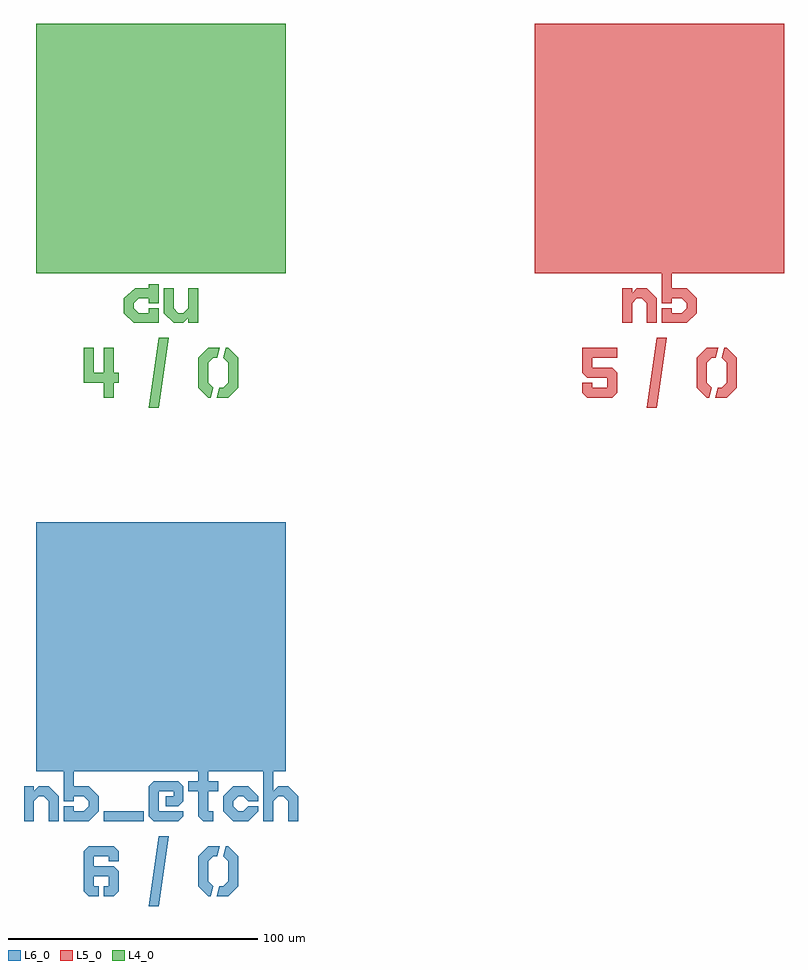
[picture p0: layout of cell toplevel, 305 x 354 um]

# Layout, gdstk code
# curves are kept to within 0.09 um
import gdstk
lib = gdstk.Library(unit=1e-6, precision=1e-09)
def R(c, l, rs):  # rectangles x0, y0, x1, y1
    for r in rs: c.add(gdstk.rectangle(r[:2], r[2:], *l))
def P(c, l, *ps):  # polygons
    for p in ps: c.add(gdstk.Polygon(p, *l))
L4_0 = (4, 0)
L5_0 = (5, 0)
L6_0 = (6, 0)

rectangle = lib.new_cell('rectangle')
R(rectangle, L4_0, [(0,0,100,100)])

textline = lib.new_cell('textline')
P(textline, L4_0, [(66,-20),(56,-20),(52,-16),(52,-10),(56.68,-6),(62,-6),(62,-4.5),(66,-4.5),(66,-12),(62,-12),(62,-10),(58,-10),(56,-12),(56,-14),(58,-16),(62,-16),(62,-14),(66,-14)],
  [(72,-6),(72,-14),(74,-16),(76,-16),(78,-14),(78,-6),(82,-6),(82,-20),(78,-20),(78,-18),(76,-20),(72,-20),(68,-16),(68,-6)])

textline001 = lib.new_cell('textline001')
P(textline001, L4_0, [(66,-40),(66,-44),(64,-44),(64,-50),(60,-50),(60,-44),(52,-44),(52,-30),(56,-30),(56,-40),(60,-40),(60,-30),(64,-30),(64,-40),(66,-40)],
  [(86,-26),(82,-54),(78,-54),(82,-26),(86,-26)],
  [(104,-34),(102,-36),(102,-44),(104,-46),(103,-50),(102,-50),(98,-46),(98,-34),(102,-30),(106.6,-30),(105.6,-34),(104,-34)],
  [(108,-46),(110,-44),(110,-36),(108,-34),(109,-30),(110,-30),(114,-34),(114,-46),(110,-50),(105.4,-50),(106.4,-46),(108,-46)])

text = lib.new_cell('text')
text.add(gdstk.Reference(textline, (-17,0)))
text.add(gdstk.Reference(textline001, (-33,0)))

rectangle001 = lib.new_cell('rectangle001')
R(rectangle001, L5_0, [(0,0,100,100)])

textline002 = lib.new_cell('textline002')
P(textline002, L5_0, [(62,-20),(62,-12),(60,-10),(58,-10),(56,-12),(56,-20),(52,-20),(52,-6),(56,-6),(56,-8),(58,-6),(62,-6),(66,-10),(66,-20)],
  [(68,-14),(72,-14),(72,-16),(76,-16),(78,-14),(78,-12),(76,-10),(72,-10),(72,-12),(68,-12),(68,0),(72,0),(72,-6),(78,-6),(82,-10),(82,-16),(78,-20),(68,-20)])

textline003 = lib.new_cell('textline003')
P(textline003, L5_0, [(66,-34),(56,-34),(56,-38),(64,-38),(66,-40),(66,-48),(64,-50),(54,-50),(52,-48),(52,-44),(56,-44),(56,-46),(62,-46),(62,-42),(54,-42),(52,-40),(52,-30),(66,-30)],
  [(86,-26),(82,-54),(78,-54),(82,-26),(86,-26)],
  [(104,-34),(102,-36),(102,-44),(104,-46),(103,-50),(102,-50),(98,-46),(98,-34),(102,-30),(106.6,-30),(105.6,-34),(104,-34)],
  [(108,-46),(110,-44),(110,-36),(108,-34),(109,-30),(110,-30),(114,-34),(114,-46),(110,-50),(105.4,-50),(106.4,-46),(108,-46)])

text001 = lib.new_cell('text001')
text001.add(gdstk.Reference(textline002, (-17,0)))
text001.add(gdstk.Reference(textline003, (-33,0)))

rectangle002 = lib.new_cell('rectangle002')
R(rectangle002, L6_0, [(0,0,100,100)])

textline004 = lib.new_cell('textline004')
P(textline004, L6_0, [(62,-20),(62,-12),(60,-10),(58,-10),(56,-12),(56,-20),(52,-20),(52,-6),(56,-6),(56,-8),(58,-6),(62,-6),(66,-10),(66,-20)],
  [(68,-14),(72,-14),(72,-16),(76,-16),(78,-14),(78,-12),(76,-10),(72,-10),(72,-12),(68,-12),(68,0),(72,0),(72,-6),(78,-6),(82,-10),(82,-16),(78,-20),(68,-20)],
  [(84,-16),(100,-16),(100,-20),(84,-20),(84,-16)],
  [(104,-20),(102,-18),(102,-6),(104,-4),(114,-4),(116,-6),(116,-12),(114,-14),(108.8,-14),(108.8,-10),(112,-10),(112,-8),(106,-8),(106,-16),(116,-16),(116,-18),(114,-20)],
  [(128,-20),(124,-20),(122,-18),(122,-8),(118,-8),(118,-4),(122,-4),(122,0),(126,0),(126,-4),(130,-4),(130,-8),(126,-8),(126,-16),(128,-16)],
  [(146,-16),(142,-20),(136,-20),(132,-16),(132,-10),(136,-6),(142,-6),(146,-10),(146,-12),(142,-12),(140,-10),(138,-10),(136,-12),(136,-14),(138,-16),(140,-16),(142,-14),(146,-14)],
  [(158,-20),(158,-12),(156,-10),(154,-10),(152,-12),(152,-20),(148,-20),(148,2),(152,2),(152,-8),(154,-6),(158,-6),(162,-10),(162,-20)])

textline005 = lib.new_cell('textline005')
P(textline005, L6_0, [(66,-36),(62,-36),(62,-34),(56,-34),(56,-38),(64,-38),(66,-40),(66,-48),(64,-50),(60,-50),(60,-46),(62,-46),(62,-42),(56,-42),(56,-46),(58,-46),(58,-50),(54,-50),(52,-48),(52,-32),(54,-30),(64,-30),(66,-32)],
  [(86,-26),(82,-54),(78,-54),(82,-26),(86,-26)],
  [(104,-34),(102,-36),(102,-44),(104,-46),(103,-50),(102,-50),(98,-46),(98,-34),(102,-30),(106.6,-30),(105.6,-34),(104,-34)],
  [(108,-46),(110,-44),(110,-36),(108,-34),(109,-30),(110,-30),(114,-34),(114,-46),(110,-50),(105.4,-50),(106.4,-46),(108,-46)])

text002 = lib.new_cell('text002')
text002.add(gdstk.Reference(textline004, (-57,0)))
text002.add(gdstk.Reference(textline005, (-33,0)))

toplevel = lib.new_cell('toplevel')
toplevel.add(gdstk.Reference(rectangle, (0,0)))
toplevel.add(gdstk.Reference(text, (0,0)))
toplevel.add(gdstk.Reference(rectangle001, (200,0)))
toplevel.add(gdstk.Reference(text001, (200,0)))
toplevel.add(gdstk.Reference(rectangle002, (0,-200)))
toplevel.add(gdstk.Reference(text002, (0,-200)))

lib.write_gds('toplevel.gds')
